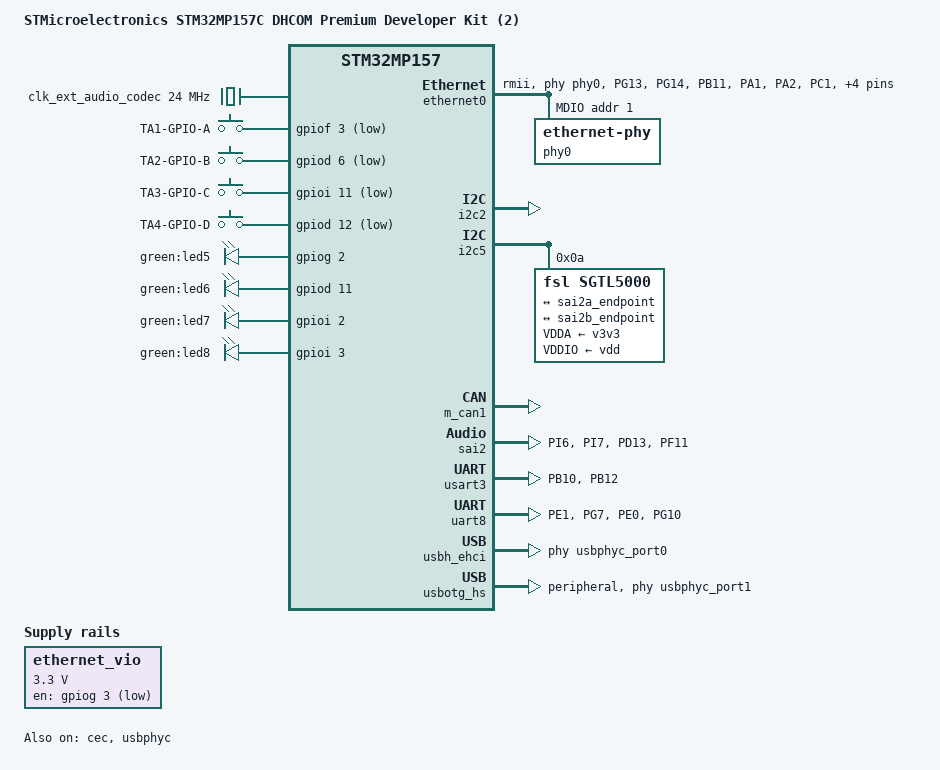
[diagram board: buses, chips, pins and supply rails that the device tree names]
// SPDX-License-Identifier: GPL-2.0+ OR BSD-3-Clause
/*
 * Copyright (C) 2019 Marek Vasut <marex@denx.de>
 */

#include "stm32mp157c-dhcom-som.dtsi"
#include <dt-bindings/input/input.h>
#include <dt-bindings/pwm/pwm.h>

/ {
	model = "STMicroelectronics STM32MP157C DHCOM Premium Developer Kit (2)";
	compatible = "dh,stm32mp157c-dhcom-pdk2", "st,stm32mp157";

	aliases {
		serial0 = &uart4;
		serial1 = &usart3;
		serial2 = &uart8;
		ethernet0 = &ethernet0;
		ethernet1 = &ksz8851;
	};

	chosen {
		stdout-path = "serial0:115200n8";
	};

	clk_ext_audio_codec: clock-codec {
		compatible = "fixed-clock";
		#clock-cells = <0>;
		clock-frequency = <24000000>;
	};

	ethernet_vio: vioregulator {
		compatible = "regulator-fixed";
		regulator-name = "vio";
		regulator-min-microvolt = <3300000>;
		regulator-max-microvolt = <3300000>;
		gpio = <&gpiog 3 GPIO_ACTIVE_LOW>;
		regulator-always-on;
		regulator-boot-on;
	};

	gpio-keys-polled {
		compatible = "gpio-keys-polled";
		#size-cells = <0>;
		poll-interval = <20>;

		/*
		 * The EXTi IRQ line 3 is shared with touchscreen and ethernet,
		 * so mark this as polled GPIO key.
		 */
		button-0 {
			label = "TA1-GPIO-A";
			linux,code = <KEY_A>;
			gpios = <&gpiof 3 GPIO_ACTIVE_LOW>;
		};
	};

	gpio-keys {
		compatible = "gpio-keys";
		#size-cells = <0>;

		button-1 {
			label = "TA2-GPIO-B";
			linux,code = <KEY_B>;
			gpios = <&gpiod 6 GPIO_ACTIVE_LOW>;
			wakeup-source;
		};

		button-2 {
			label = "TA3-GPIO-C";
			linux,code = <KEY_C>;
			gpios = <&gpioi 11 GPIO_ACTIVE_LOW>;
			wakeup-source;
		};

		button-3 {
			label = "TA4-GPIO-D";
			linux,code = <KEY_D>;
			gpios = <&gpiod 12 GPIO_ACTIVE_LOW>;
			wakeup-source;
		};
	};

	led {
		compatible = "gpio-leds";

		led-0 {
			label = "green:led5";
			gpios = <&gpiog 2 GPIO_ACTIVE_HIGH>;
			default-state = "off";
		};

		led-1 {
			label = "green:led6";
			gpios = <&gpiod 11 GPIO_ACTIVE_HIGH>;
			default-state = "off";
		};

		led-2 {
			label = "green:led7";
			gpios = <&gpioi 2 GPIO_ACTIVE_HIGH>;
			default-state = "off";
		};

		led-3 {
			label = "green:led8";
			gpios = <&gpioi 3 GPIO_ACTIVE_HIGH>;
			default-state = "off";
		};
	};

	sound {
		compatible = "audio-graph-card";
		routing =
			"MIC_IN", "Capture",
			"Capture", "Mic Bias",
			"Playback", "HP_OUT";
		dais = <&sai2a_port &sai2b_port>;
		status = "okay";
	};
};

&cec {
	pinctrl-names = "default";
	pinctrl-0 = <&cec_pins_a>;
	status = "okay";
};

&ethernet0 {
	status = "okay";
	pinctrl-0 = <&ethernet0_rmii_pins_a>;
	pinctrl-1 = <&ethernet0_rmii_pins_sleep_a>;
	pinctrl-names = "default", "sleep";
	phy-mode = "rmii";
	max-speed = <100>;
	phy-handle = <&phy0>;
	st,eth-ref-clk-sel;
	phy-reset-gpios = <&gpioh 15 GPIO_ACTIVE_LOW>;

	mdio0 {
		#address-cells = <1>;
		#size-cells = <0>;
		compatible = "snps,dwmac-mdio";

		phy0: ethernet-phy@1 {
			reg = <1>;
		};
	};
};

&i2c2 {	/* Header X22 */
	pinctrl-names = "default";
	pinctrl-0 = <&i2c2_pins_a>;
	i2c-scl-rising-time-ns = <185>;
	i2c-scl-falling-time-ns = <20>;
	status = "okay";
	/* spare dmas for other usage */
	/delete-property/dmas;
	/delete-property/dma-names;
	status = "okay";
};

&i2c5 {	/* Header X21 */
	pinctrl-names = "default";
	pinctrl-0 = <&i2c5_pins_a>;
	i2c-scl-rising-time-ns = <185>;
	i2c-scl-falling-time-ns = <20>;
	status = "okay";
	/* spare dmas for other usage */
	/delete-property/dmas;
	/delete-property/dma-names;

	sgtl5000: codec@a {
		compatible = "fsl,sgtl5000";
		reg = <0x0a>;
		#sound-dai-cells = <0>;
		clocks = <&clk_ext_audio_codec>;
		VDDA-supply = <&v3v3>;
		VDDIO-supply = <&vdd>;

		sgtl5000_port: port {
			#address-cells = <1>;
			#size-cells = <0>;

			sgtl5000_tx_endpoint: endpoint@0 {
				reg = <0>;
				remote-endpoint = <&sai2a_endpoint>;
				frame-master;
				bitclock-master;
			};

			sgtl5000_rx_endpoint: endpoint@1 {
				reg = <1>;
				remote-endpoint = <&sai2b_endpoint>;
				frame-master;
				bitclock-master;
			};
		};
	};
};

&m_can1 {
	pinctrl-names = "default", "sleep";
	pinctrl-0 = <&m_can1_pins_a>;
	pinctrl-1 = <&m_can1_sleep_pins_a>;
	status = "okay";
};

&pinctrl {
	ethernet0_rmii_pins_a: rmii-0 {
		pins1 {
			pinmux = <STM32_PINMUX('G', 13, AF11)>, /* ETH1_RMII_TXD0 */
				 <STM32_PINMUX('G', 14, AF11)>, /* ETH1_RMII_TXD1 */
				 <STM32_PINMUX('B', 11, AF11)>, /* ETH1_RMII_TX_EN */
				 <STM32_PINMUX('A', 1, AF0)>,   /* ETH1_RMII_REF_CLK */
				 <STM32_PINMUX('A', 2, AF11)>,  /* ETH1_MDIO */
				 <STM32_PINMUX('C', 1, AF11)>;  /* ETH1_MDC */
			bias-disable;
			drive-push-pull;
			slew-rate = <2>;
		};
		pins2 {
			pinmux = <STM32_PINMUX('C', 4, AF11)>,  /* ETH1_RMII_RXD0 */
				 <STM32_PINMUX('C', 5, AF11)>,  /* ETH1_RMII_RXD1 */
				 <STM32_PINMUX('A', 7, AF11)>;  /* ETH1_RMII_CRS_DV */
			bias-disable;
		};
	};

	ethernet0_rmii_pins_sleep_a: rmii-sleep-0 {
		pins1 {
			pinmux = <STM32_PINMUX('G', 13, ANALOG)>, /* ETH1_RMII_TXD0 */
				 <STM32_PINMUX('G', 14, ANALOG)>, /* ETH1_RMII_TXD1 */
				 <STM32_PINMUX('B', 11, ANALOG)>, /* ETH1_RMII_TX_EN */
				 <STM32_PINMUX('A', 2, ANALOG)>,  /* ETH1_MDIO */
				 <STM32_PINMUX('C', 1, ANALOG)>,  /* ETH1_MDC */
				 <STM32_PINMUX('C', 4, ANALOG)>,  /* ETH1_RMII_RXD0 */
				 <STM32_PINMUX('C', 5, ANALOG)>,  /* ETH1_RMII_RXD1 */
				 <STM32_PINMUX('A', 1, ANALOG)>,  /* ETH1_RMII_REF_CLK */
				 <STM32_PINMUX('A', 7, ANALOG)>;  /* ETH1_RMII_CRS_DV */
		};
	};

	sai2_pins_a: sai2-0 {
		pins1 {
			pinmux = <STM32_PINMUX('I', 6, AF10)>,	/* SAI2_SD_A */
				 <STM32_PINMUX('I', 7, AF10)>,	/* SAI2_FS_A */
				 <STM32_PINMUX('D', 13, AF10)>;	/* SAI2_SCK_A */
			slew-rate = <0>;
			drive-push-pull;
			bias-disable;
		};
		pins2 {
			pinmux = <STM32_PINMUX('F', 11, AF10)>;	/* SAI2_SD_B */
			bias-disable;
		};
	};

	sai2_sleep_pins_a: sai2-sleep-0 {
		pins {
			pinmux = <STM32_PINMUX('I', 6, ANALOG)>,  /* SAI2_SD_A */
				 <STM32_PINMUX('I', 7, ANALOG)>,  /* SAI2_FS_A */
				 <STM32_PINMUX('D', 13, ANALOG)>, /* SAI2_SCK_A */
				 <STM32_PINMUX('F', 11, ANALOG)>; /* SAI2_SD_B */
		};
	};

	usart3_pins_a: usart3-0 {
		pins1 {
			pinmux = <STM32_PINMUX('B', 10, AF7)>; /* USART3_TX */
			bias-disable;
			drive-push-pull;
			slew-rate = <0>;
		};
		pins2 {
			pinmux = <STM32_PINMUX('B', 12, AF8)>; /* USART3_RX */
			bias-disable;
		};
	};

	uart8_pins_a: uart8-0 {
		pins1 {
			pinmux = <STM32_PINMUX('E', 1, AF8)>, /* UART8_TX */
				 <STM32_PINMUX('G', 7, AF8)>; /* UART8_RTS */
			bias-disable;
			drive-push-pull;
			slew-rate = <0>;
		};
		pins2 {
			pinmux = <STM32_PINMUX('E', 0, AF8)>,  /* UART8_RX */
				 <STM32_PINMUX('G', 10, AF8)>; /* UART8_CTS */
			bias-disable;
		};
	};
};

&sai2 {
	clocks = <&rcc SAI2>, <&rcc PLL3_Q>, <&rcc PLL3_R>;
	clock-names = "pclk", "x8k", "x11k";
	pinctrl-names = "default", "sleep";
	pinctrl-0 = <&sai2_pins_a>;
	pinctrl-1 = <&sai2_sleep_pins_a>;
	status = "okay";

	sai2a: audio-controller@4400b004 {
		#clock-cells = <0>;
		dma-names = "tx";
		clocks = <&rcc SAI2_K>;
		clock-names = "sai_ck";
		status = "okay";

		sai2a_port: port {
			sai2a_endpoint: endpoint {
				remote-endpoint = <&sgtl5000_tx_endpoint>;
				format = "i2s";
				mclk-fs = <512>;
				dai-tdm-slot-num = <2>;
				dai-tdm-slot-width = <16>;
			};
		};
	};

	sai2b: audio-controller@4400b024 {
		dma-names = "rx";
		st,sync = <&sai2a 2>;
		clocks = <&rcc SAI2_K>, <&sai2a>;
		clock-names = "sai_ck", "MCLK";
		status = "okay";

		sai2b_port: port {
			sai2b_endpoint: endpoint {
				remote-endpoint = <&sgtl5000_rx_endpoint>;
				format = "i2s";
				mclk-fs = <512>;
				dai-tdm-slot-num = <2>;
				dai-tdm-slot-width = <16>;
			};
		};
	};
};

&usart3 {
	pinctrl-names = "default";
	pinctrl-0 = <&usart3_pins_a>;
	status = "okay";
};

&uart8 {
	pinctrl-names = "default";
	pinctrl-0 = <&uart8_pins_a>;
	uart-has-rtscts;
	status = "okay";
};

&usbh_ehci {
	phys = <&usbphyc_port0>;
	status = "okay";
};

&usbotg_hs {
	dr_mode = "peripheral";
	phys = <&usbphyc_port1 0>;
	phy-names = "usb2-phy";
	status = "okay";
};

&usbphyc {
	status = "okay";
};

&usbphyc_port0 {
	phy-supply = <&vdd_usb>;
	vdda1v1-supply = <&reg11>;
	vdda1v8-supply = <&reg18>;
};

&usbphyc_port1 {
	phy-supply = <&vdd_usb>;
	vdda1v1-supply = <&reg11>;
	vdda1v8-supply = <&reg18>;
};
